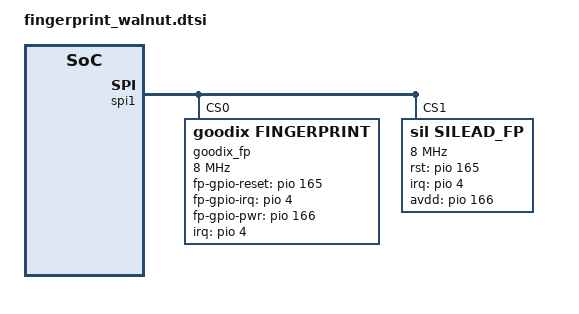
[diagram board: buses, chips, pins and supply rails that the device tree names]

&pio {
	fingerprint_irq: fingerprint_irq {
		pins_cmd_dat {
			pinmux = <PINMUX_GPIO4__FUNC_GPIO4>;
			slew-rate = <0>;
			bias-disable;
		};
	};

	fingerprint_power_high: state_power_high {
		pins_cmd_dat {
			pinmux = <PINMUX_GPIO166__FUNC_GPIO166>;
			slew-rate = <1>;
			output-high;
		};
	};

	fingerprint_power_low: state_power_low {
		pins_cmd_dat {
			pinmux = <PINMUX_GPIO166__FUNC_GPIO166>;
			slew-rate = <1>;
			output-low;
		};
	};

	fingerprint_reset_high: state_reset_high {
		pins_cmd_dat {
			pinmux = <PINMUX_GPIO165__FUNC_GPIO165>;
			slew-rate = <1>;
			output-high;
		};
	};

	fingerprint_reset_low: state_reset_low {
		pins_cmd_dat {
			pinmux = <PINMUX_GPIO165__FUNC_GPIO165>;
			slew-rate = <1>;
			output-low;
		};
	};
};


&spi1 {
	#address-cells = <1>;
	#size-cells = <0>;
	status = "okay";
	goodix_fp@0 {
		compatible = "goodix,fingerprint";
		reg = <0>;
		spi-max-frequency = <8000000>;

		interrupt-parent = <&pio>;
		interrupts = <4 IRQ_TYPE_EDGE_RISING 4 0>;

		pinctrl-names = "fingerprint_irq", "power_high", "power_low", "reset_high", "reset_low";
		pinctrl-0 = <&fingerprint_irq>;
		pinctrl-1 = <&fingerprint_power_high>;
		pinctrl-2 = <&fingerprint_power_low>;
		pinctrl-3 = <&fingerprint_reset_high>;
		pinctrl-4 = <&fingerprint_reset_low>;

		fp-gpio-reset = <&pio 165 0x00>;
		fp-gpio-irq = <&pio 4 0x00>;
		fp-gpio-pwr = <&pio 166 0x00>;
	};

	silead_fp@1 {
		compatible = "sil,silead_fp";
		reg = <1>;
		spi-max-frequency = <8000000>;

		interrupt-parent = <&pio>;
		interrupts = <4 IRQ_TYPE_EDGE_RISING 4 0>;

		pinctrl-names = "irq-init", "avdd-enable", "power_low", "rst-high", "rst-low";
		pinctrl-0 = <&fingerprint_irq>;
		pinctrl-1 = <&fingerprint_power_high>;
		pinctrl-2 = <&fingerprint_power_low>;
		pinctrl-3 = <&fingerprint_reset_high>;
		pinctrl-4 = <&fingerprint_reset_low>;

		rst-gpios = <&pio 165 0x00>;
		irq-gpios = <&pio 4 0x00>;
		avdd-gpios = <&pio 166 0x00>;
	};
};

